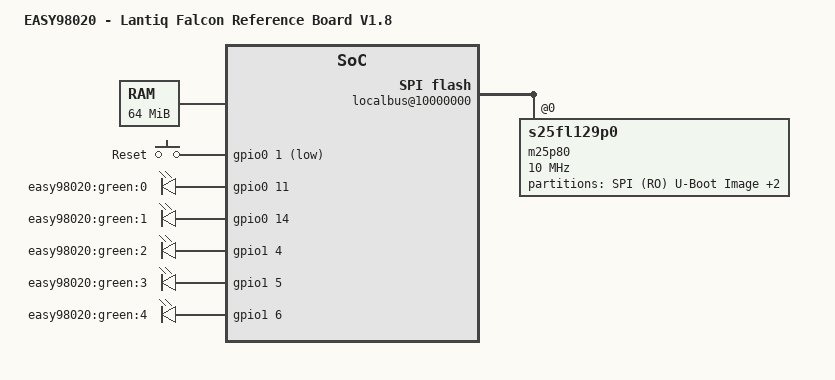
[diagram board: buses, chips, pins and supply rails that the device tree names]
/dts-v1/;

/include/ "falcon.dtsi"

/ {
	model = "EASY98020 - Lantiq Falcon Reference Board V1.8";

	chosen {
		// bootargs = "console=ttyLTQ0,115200 init=/etc/preinit";
	};

	memory@0 {
		reg = <0x0 0x4000000>;  // 64M at 0x0
	};

	localbus@10000000 {
		#address-cells = <1>;
		#size-cells = <1>;
		compatible = "lantiq,sflash-falcon", "simple-bus";
		busnum = <0>;

		m25p80@0 {
			#address-cells = <1>;
			#size-cells = <1>;
			compatible = "s25fl129p0";
			reg = <0 0>;
			linux,modalias = "m25p80", "s25fl129p0";
			linux,mtd-name = "sflash";
			spi-max-frequency = <10000000>;

			partition@0 {
				reg = <0x0 0x00080000>;
				label = "SPI (RO) U-Boot Image";
				read-only;
			};

			partition@80000 {
				reg = <0x00080000 0x00080000>;
				label = "SPI (RO) DTB Image";
				read-only;
			};

			partition@100000 {
				reg = <0x00100000 0x00400000>;
				label = "SPI (RO) Linux Kernel Image";
				read-only;
			};
		};
	};

	gpio-keys {
		compatible = "gpio-keys";
		reset {
			label = "Reset";
			gpios = <&gpio0 1 1>; /* GPIO0.1, active low */
			linux,code = <0x100>; /* BTN_X = 0x100 + X */
		};
	};

	pinctrl {
		led_pins: led-pins {
			lantiq,pins = "io11", "io14", "io36", "io37", "io38";
			lantiq,function = "gpio";
		};
	};

	easy98020-leds {
		compatible = "gpio-leds";
		pinctrl-names = "default";
		pinctrl-0 = <&led_pins &bootled_pins>;

		LED_0 {
			label = "easy98020:green:0";
			gpios = <&gpio0 11 0>;
			default-state = "keep";
		};
		LED_1 {
			label = "easy98020:green:1";
			gpios = <&gpio0 14 0>;
			default-state = "keep";
		};
		LED_2 {
			label = "easy98020:green:2";
			gpios = <&gpio1 4 0>;
			default-state = "keep";
		};
		LED_3 {
			label = "easy98020:green:3";
			gpios = <&gpio1 5 0>;
			default-state = "keep";
		};
		LED_4 {
			label = "easy98020:green:4";
			gpios = <&gpio1 6 0>;
			default-state = "keep";
		};
	};
};
